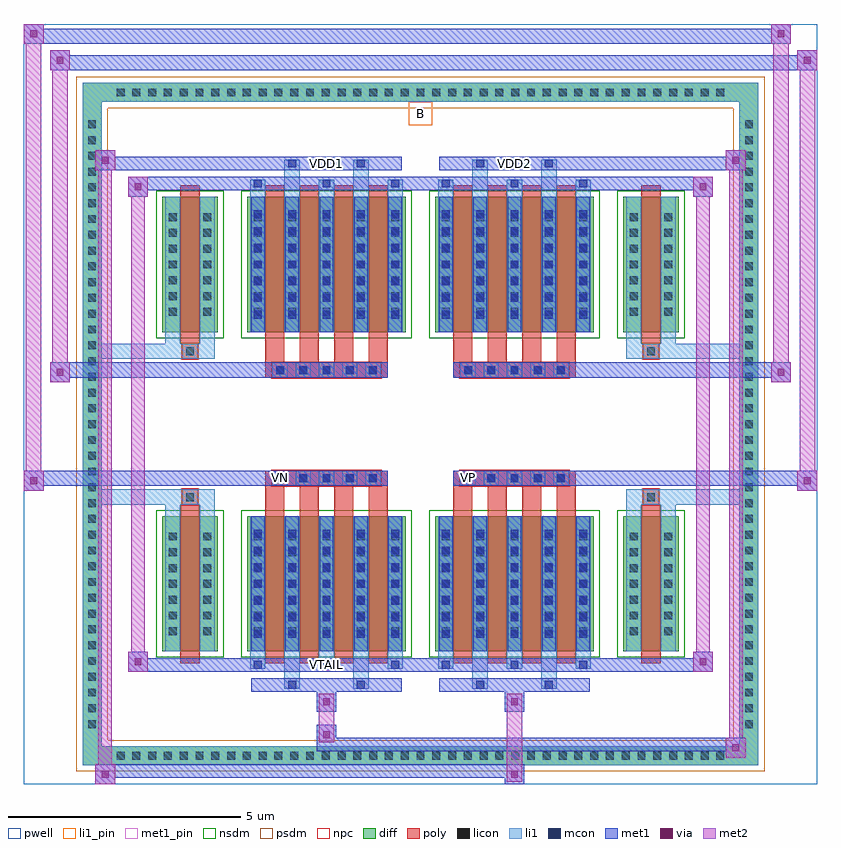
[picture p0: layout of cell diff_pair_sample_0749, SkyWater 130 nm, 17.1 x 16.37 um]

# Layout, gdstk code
import gdstk
lib = gdstk.Library(unit=1e-6, precision=5e-09)
def R(c, l, rs):  # rectangles x0, y0, x1, y1
    for r in rs: c.add(gdstk.rectangle(r[:2], r[2:], *l))
def A(c, l, x, y, w, h, nx, ny, dx, dy):  # array of equal rectangles
    R(c, l, [(x+i*dx, y+j*dy, x+i*dx+w, y+j*dy+h) for i in range(nx) for j in range(ny)])
def P(c, l, *ps):  # polygons
    for p in ps: c.add(gdstk.Polygon(p, *l))
pwell = (64, 44)
diff = (65, 20)
poly = (66, 20)
licon = (66, 44)
li1_pin = (67, 16)
li1 = (67, 20)
mcon = (67, 44)
met1_pin = (68, 16)
met1 = (68, 20)
via = (68, 44)
met2 = (69, 20)
nsdm = (93, 44)
psdm = (94, 20)
npc = (95, 20)

diff_pair_sample_0749 = lib.new_cell('diff_pair_sample_0749')
R(diff_pair_sample_0749, pwell, [(-8.55,-7.75,8.55,8.62), (-5.87,-5.94,-0.01,-0.8), (0.01,-5.94,5.87,-0.8), (-5.87,0.8,-0.01,5.94), (0.01,0.8,5.87,5.94)])
A(diff_pair_sample_0749, diff, -6.665, -7.35, 0.41, 0.41, 39, 2, 0.34, 14.29)
A(diff_pair_sample_0749, diff, -7.28, -6.665, 0.41, 0.41, 1, 39, 0, 0.34)
A(diff_pair_sample_0749, diff, 6.87, -6.665, 0.41, 0.41, 1, 39, 0, 0.34)
R(diff_pair_sample_0749, diff, [(-6.665,-7.35,6.665,-6.94), (-7.28,-6.665,-6.87,6.665), (6.87,-6.665,7.28,6.665), (-5.56,-4.895,-4.37,-1.985), (-3.73,-4.895,-0.32,-1.985), (0.32,-4.895,3.73,-1.985), (4.37,-4.895,5.56,-1.985), (-5.56,1.985,-4.37,4.895), (-3.73,1.985,-0.32,4.895), (0.32,1.985,3.73,4.895), (4.37,1.985,5.56,4.895), (-6.665,6.94,6.665,7.35)])
P(diff_pair_sample_0749, diff, [(7.28,7.35),(-7.28,7.35),(-7.28,-6.94),(-6.87,-6.94),(-6.87,6.94),(6.87,6.94),(6.87,-6.94),(-6.87,-6.94),(-7.28,-6.94),(-7.28,-7.35),(7.28,-7.35)])
A(diff_pair_sample_0749, poly, -3.34, -5.145, 0.41, 3.41, 4, 2, 0.74, 6.88)
A(diff_pair_sample_0749, poly, 0.71, -5.145, 0.41, 3.41, 4, 2, 0.74, 6.88)
A(diff_pair_sample_0749, poly, -3.34, -1.735, 0.41, 0.405, 4, 2, 0.74, 3.065)
A(diff_pair_sample_0749, poly, 0.71, -1.735, 0.41, 0.405, 4, 2, 0.74, 3.065)
A(diff_pair_sample_0749, poly, -3.19, -1.33, 0.33, 0.33, 5, 2, 0.5, 2.33)
A(diff_pair_sample_0749, poly, 0.86, -1.33, 0.33, 0.33, 5, 2, 0.5, 2.33)
R(diff_pair_sample_0749, poly, [(-5.17,-5.145,-4.76,-1.735), (4.76,-5.145,5.17,-1.735), (-5.13,-1.735,-4.8,-1.405), (-5.13,-1.735,-4.8,-1.405), (4.8,-1.735,5.13,-1.405), (4.8,-1.735,5.13,-1.405), (-3.34,-1.33,-0.71,-1), (0.71,-1.33,3.34,-1), (-3.34,1,-0.71,1.33), (0.71,1,3.34,1.33), (-5.13,1.405,-4.8,1.735), (-5.13,1.405,-4.8,1.735), (4.8,1.405,5.13,1.735), (4.8,1.405,5.13,1.735), (-5.17,1.735,-4.76,5.145), (4.76,1.735,5.17,5.145)])
A(diff_pair_sample_0749, licon, -6.545, -7.23, 0.17, 0.17, 39, 2, 0.34, 14.29)
A(diff_pair_sample_0749, licon, -7.16, -6.545, 0.17, 0.17, 1, 39, 0, 0.34)
A(diff_pair_sample_0749, licon, 6.99, -6.545, 0.17, 0.17, 1, 39, 0, 0.34)
A(diff_pair_sample_0749, licon, -5.42, -4.545, 0.17, 0.17, 1, 7, 0, 0.34)
A(diff_pair_sample_0749, licon, -4.68, -4.545, 0.17, 0.17, 1, 7, 0, 0.34)
A(diff_pair_sample_0749, licon, -3.59, -4.545, 0.17, 0.17, 5, 7, 0.74, 0.34)
A(diff_pair_sample_0749, licon, 0.46, -4.545, 0.17, 0.17, 5, 7, 0.74, 0.34)
A(diff_pair_sample_0749, licon, 4.51, -4.545, 0.17, 0.17, 1, 7, 0, 0.34)
A(diff_pair_sample_0749, licon, 5.25, -4.545, 0.17, 0.17, 1, 7, 0, 0.34)
A(diff_pair_sample_0749, licon, -3.11, -1.25, 0.17, 0.17, 5, 2, 0.5, 2.33)
A(diff_pair_sample_0749, licon, 0.94, -1.25, 0.17, 0.17, 5, 2, 0.5, 2.33)
A(diff_pair_sample_0749, licon, -5.42, 2.335, 0.17, 0.17, 1, 7, 0, 0.34)
A(diff_pair_sample_0749, licon, -4.68, 2.335, 0.17, 0.17, 1, 7, 0, 0.34)
A(diff_pair_sample_0749, licon, -3.59, 2.335, 0.17, 0.17, 5, 7, 0.74, 0.34)
A(diff_pair_sample_0749, licon, 0.46, 2.335, 0.17, 0.17, 5, 7, 0.74, 0.34)
A(diff_pair_sample_0749, licon, 4.51, 2.335, 0.17, 0.17, 1, 7, 0, 0.34)
A(diff_pair_sample_0749, licon, 5.25, 2.335, 0.17, 0.17, 1, 7, 0, 0.34)
R(diff_pair_sample_0749, licon, [(-5.05,-1.655,-4.88,-1.485), (4.88,-1.655,5.05,-1.485), (-5.05,1.485,-4.88,1.655), (4.88,1.485,5.05,1.655)])
R(diff_pair_sample_0749, li1_pin, [(-0.25,6.44,0.25,6.94)])
A(diff_pair_sample_0749, li1, -6.625, -7.31, 0.33, 0.33, 39, 2, 0.34, 14.29)
A(diff_pair_sample_0749, li1, -7.24, -6.625, 0.33, 0.33, 1, 39, 0, 0.34)
A(diff_pair_sample_0749, li1, 6.91, -6.625, 0.33, 0.33, 1, 39, 0, 0.34)
A(diff_pair_sample_0749, li1, -3.67, -5.27, 0.33, 0.375, 3, 2, 1.48, 10.165)
A(diff_pair_sample_0749, li1, -3.59, -5.27, 0.17, 0.17, 3, 2, 1.48, 10.37)
A(diff_pair_sample_0749, li1, 0.38, -5.27, 0.33, 0.375, 3, 2, 1.48, 10.165)
A(diff_pair_sample_0749, li1, 0.46, -5.27, 0.17, 0.17, 3, 2, 1.48, 10.37)
A(diff_pair_sample_0749, li1, -3.67, -4.895, 0.33, 2.91, 5, 2, 0.74, 6.88)
A(diff_pair_sample_0749, li1, 0.38, -4.895, 0.33, 2.91, 5, 2, 0.74, 6.88)
A(diff_pair_sample_0749, li1, -5.5, -4.625, 0.33, 0.33, 1, 7, 0, 0.34)
A(diff_pair_sample_0749, li1, -4.76, -4.625, 0.33, 0.33, 1, 7, 0, 0.34)
A(diff_pair_sample_0749, li1, -3.67, -4.625, 0.33, 0.33, 5, 7, 0.74, 0.34)
A(diff_pair_sample_0749, li1, 0.38, -4.625, 0.33, 0.33, 5, 7, 0.74, 0.34)
A(diff_pair_sample_0749, li1, 4.43, -4.625, 0.33, 0.33, 1, 7, 0, 0.34)
A(diff_pair_sample_0749, li1, 5.17, -4.625, 0.33, 0.33, 1, 7, 0, 0.34)
A(diff_pair_sample_0749, li1, -3.59, -4.605, 0.17, 0.17, 5, 7, 0.74, 0.36)
A(diff_pair_sample_0749, li1, -3.59, -4.605, 0.17, 2.33, 5, 2, 0.74, 6.88)
A(diff_pair_sample_0749, li1, 0.46, -4.605, 0.17, 0.17, 5, 7, 0.74, 0.36)
A(diff_pair_sample_0749, li1, 0.46, -4.605, 0.17, 2.33, 5, 2, 0.74, 6.88)
A(diff_pair_sample_0749, li1, -3.19, -1.33, 0.33, 0.33, 5, 2, 0.5, 2.33)
A(diff_pair_sample_0749, li1, 0.86, -1.33, 0.33, 0.33, 5, 2, 0.5, 2.33)
A(diff_pair_sample_0749, li1, -5.5, 2.255, 0.33, 0.33, 1, 7, 0, 0.34)
A(diff_pair_sample_0749, li1, -4.76, 2.255, 0.33, 0.33, 1, 7, 0, 0.34)
A(diff_pair_sample_0749, li1, -3.67, 2.255, 0.33, 0.33, 5, 7, 0.74, 0.34)
A(diff_pair_sample_0749, li1, 0.38, 2.255, 0.33, 0.33, 5, 7, 0.74, 0.34)
A(diff_pair_sample_0749, li1, 4.43, 2.255, 0.33, 0.33, 1, 7, 0, 0.34)
A(diff_pair_sample_0749, li1, 5.17, 2.255, 0.33, 0.33, 1, 7, 0, 0.34)
A(diff_pair_sample_0749, li1, -3.59, 2.275, 0.17, 0.17, 5, 7, 0.74, 0.36)
A(diff_pair_sample_0749, li1, 0.46, 2.275, 0.17, 0.17, 5, 7, 0.74, 0.36)
R(diff_pair_sample_0749, li1, [(-7.28,-7.35,-6.87,-6.94), (-7.28,-7.35,-6.87,-6.94), (-6.87,-7.35,6.87,-6.94), (6.87,-7.35,7.28,-6.94), (6.87,-7.35,7.28,-6.94), (-7.28,-6.94,-6.87,6.94), (6.87,-6.94,7.28,6.94), (-2.93,-5.7,-2.6,-4.895), (-2.85,-5.7,-2.68,-5.53), (-1.45,-5.7,-1.12,-4.895), (-1.37,-5.7,-1.2,-5.53), (1.12,-5.7,1.45,-4.895), (1.2,-5.7,1.37,-5.53), (2.6,-5.7,2.93,-4.895), (2.68,-5.7,2.85,-5.53), (-5.5,-4.895,-5.17,-1.985), (-4.76,-4.895,-4.43,-1.985), (4.43,-4.895,4.76,-1.985), (5.17,-4.895,5.5,-1.985), (-5.5,-1.985,-5.17,-1.405), (-4.76,-1.985,-4.43,-1.405), (4.43,-1.985,4.76,-1.405), (5.17,-1.985,5.5,-1.405), (-7.28,-1.735,-5.13,-1.405), (-5.5,-1.735,-5.13,-1.405), (-5.13,-1.735,-4.8,-1.405), (-4.8,-1.735,-4.43,-1.405), (4.43,-1.735,4.8,-1.405), (4.8,-1.735,5.13,-1.405), (4.8,-1.735,7.28,-1.405), (5.13,-1.735,5.5,-1.405), (-7.28,1.405,-5.13,1.735), (-5.5,1.405,-5.13,1.735), (-5.5,1.405,-5.17,1.985), (-5.13,1.405,-4.8,1.735), (-4.8,1.405,-4.43,1.735), (-4.76,1.405,-4.43,1.985), (4.43,1.405,4.8,1.735), (4.43,1.405,4.76,1.985), (4.8,1.405,5.13,1.735), (4.8,1.405,7.28,1.735), (5.13,1.405,5.5,1.735), (5.17,1.405,5.5,1.985), (-5.5,1.985,-5.17,4.895), (-4.76,1.985,-4.43,4.895), (4.43,1.985,4.76,4.895), (5.17,1.985,5.5,4.895), (-2.93,4.895,-2.6,5.7), (-1.45,4.895,-1.12,5.7), (1.12,4.895,1.45,5.7), (2.6,4.895,2.93,5.7), (-2.85,5.53,-2.68,5.7), (-1.37,5.53,-1.2,5.7), (1.2,5.53,1.37,5.7), (2.68,5.53,2.85,5.7), (-7.28,6.94,-6.87,7.35), (-7.28,6.94,-6.87,7.35), (-6.87,6.94,6.87,7.35), (6.87,6.94,7.28,7.35), (6.87,6.94,7.28,7.35)])
A(diff_pair_sample_0749, mcon, -3.59, -5.27, 0.17, 0.17, 3, 2, 1.48, 10.37)
A(diff_pair_sample_0749, mcon, 0.46, -5.27, 0.17, 0.17, 3, 2, 1.48, 10.37)
A(diff_pair_sample_0749, mcon, -3.59, -4.605, 0.17, 0.17, 5, 7, 0.74, 0.36)
A(diff_pair_sample_0749, mcon, 0.46, -4.605, 0.17, 0.17, 5, 7, 0.74, 0.36)
A(diff_pair_sample_0749, mcon, -3.11, -1.25, 0.17, 0.17, 5, 2, 0.5, 2.33)
A(diff_pair_sample_0749, mcon, 0.94, -1.25, 0.17, 0.17, 5, 2, 0.5, 2.33)
A(diff_pair_sample_0749, mcon, -3.59, 2.275, 0.17, 0.17, 5, 7, 0.74, 0.36)
A(diff_pair_sample_0749, mcon, 0.46, 2.275, 0.17, 0.17, 5, 7, 0.74, 0.36)
R(diff_pair_sample_0749, mcon, [(-2.85,-5.7,-2.68,-5.53), (-1.37,-5.7,-1.2,-5.53), (1.2,-5.7,1.37,-5.53), (2.68,-5.7,2.85,-5.53), (-2.85,5.53,-2.68,5.7), (-1.37,5.53,-1.2,5.7), (1.2,5.53,1.37,5.7), (2.68,5.53,2.85,5.7)])
R(diff_pair_sample_0749, met1_pin, [(-2.16,-5.31,-1.89,-5.04), (-3.16,-1.29,-2.89,-1.02), (0.89,-1.29,1.16,-1.02), (-2.16,5.49,-1.89,5.76), (1.89,5.49,2.16,5.76)])
A(diff_pair_sample_0749, met1, -3.65, -5.33, 0.29, 0.29, 3, 2, 1.48, 10.37)
A(diff_pair_sample_0749, met1, 0.4, -5.33, 0.29, 0.29, 3, 2, 1.48, 10.37)
A(diff_pair_sample_0749, met1, -3.65, -4.895, 0.29, 2.91, 5, 2, 0.74, 6.88)
A(diff_pair_sample_0749, met1, 0.4, -4.895, 0.29, 2.91, 5, 2, 0.74, 6.88)
A(diff_pair_sample_0749, met1, -3.65, -4.665, 0.29, 0.29, 5, 7, 0.74, 0.36)
A(diff_pair_sample_0749, met1, 0.4, -4.665, 0.29, 0.29, 5, 7, 0.74, 0.36)
A(diff_pair_sample_0749, met1, -3.17, -1.31, 0.29, 0.29, 5, 2, 0.5, 2.33)
A(diff_pair_sample_0749, met1, 0.88, -1.31, 0.29, 0.29, 5, 2, 0.5, 2.33)
A(diff_pair_sample_0749, met1, -3.65, 2.215, 0.29, 0.29, 5, 7, 0.74, 0.36)
A(diff_pair_sample_0749, met1, 0.4, 2.215, 0.29, 0.29, 5, 7, 0.74, 0.36)
R(diff_pair_sample_0749, met1, [(-7.01,-7.75,-6.58,-7.32), (1.81,-7.75,2.24,-7.32), (-7.01,-7.61,2.24,-7.32), (6.58,-7.18,7.01,-6.75), (-2.24,-7.04,7.01,-6.75), (-2.24,-6.9,-1.81,-6.47), (-2.24,-6.19,-1.81,-5.76), (1.81,-6.19,2.24,-5.76), (-3.65,-5.76,-0.4,-5.47), (-2.91,-5.76,-2.62,-5.47), (-1.43,-5.76,-1.14,-5.47), (0.4,-5.76,3.65,-5.47), (1.14,-5.76,1.43,-5.47), (2.62,-5.76,2.91,-5.47), (-6.3,-5.33,-5.87,-4.9), (-6.3,-5.33,-3.65,-5.04), (-3.65,-5.33,-0.4,-5.04), (-0.4,-5.33,0.4,-5.04), (0.4,-5.33,3.65,-5.04), (3.65,-5.33,6.3,-5.04), (5.87,-5.33,6.3,-4.9), (-8.55,-1.43,-8.12,-1), (8.12,-1.43,8.55,-1), (-8.55,-1.33,-0.71,-1), (-3.34,-1.33,-0.71,-1), (0.71,-1.33,3.34,-1), (0.71,-1.33,8.55,-1), (-7.98,0.9,-7.55,1.33), (7.55,0.9,7.98,1.33), (-7.98,1,-3.34,1.33), (-3.34,1,-0.71,1.33), (0.71,1,3.34,1.33), (3.34,1,7.98,1.33), (-6.3,4.9,-5.87,5.33), (5.87,4.9,6.3,5.33), (-6.3,5.04,-3.65,5.33), (-3.65,5.04,-0.4,5.33), (-0.4,5.04,0.4,5.33), (0.4,5.04,3.65,5.33), (3.65,5.04,6.3,5.33), (-7.01,5.47,-6.58,5.9), (-7.01,5.47,-3.65,5.76), (-3.65,5.47,-0.4,5.76), (-2.91,5.47,-2.62,5.76), (-1.43,5.47,-1.14,5.76), (0.4,5.47,3.65,5.76), (1.14,5.47,1.43,5.76), (2.62,5.47,2.91,5.76), (3.65,5.47,7.01,5.76), (6.58,5.47,7.01,5.9), (-7.98,7.62,-7.55,8.05), (-7.98,7.62,-5.87,7.95), (-5.87,7.62,5.87,7.95), (5.87,7.62,8.55,7.95), (8.12,7.62,8.55,8.05), (-8.55,8.19,-8.12,8.62), (-8.55,8.19,-5.87,8.52), (-5.87,8.19,5.87,8.52), (5.87,8.19,7.98,8.52), (7.55,8.19,7.98,8.62)])
R(diff_pair_sample_0749, via, [(-6.87,-7.61,-6.72,-7.46), (1.95,-7.61,2.1,-7.46), (6.72,-7.04,6.87,-6.89), (-2.1,-6.76,-1.95,-6.61), (-2.1,-6.05,-1.95,-5.9), (1.95,-6.05,2.1,-5.9), (-6.16,-5.19,-6.01,-5.04), (6.01,-5.19,6.16,-5.04), (-8.41,-1.29,-8.26,-1.14), (8.26,-1.29,8.41,-1.14), (-7.84,1.04,-7.69,1.19), (7.69,1.04,7.84,1.19), (-6.16,5.04,-6.01,5.19), (6.01,5.04,6.16,5.19), (-6.87,5.61,-6.72,5.76), (6.72,5.61,6.87,5.76), (-7.84,7.76,-7.69,7.91), (8.26,7.76,8.41,7.91), (-8.41,8.33,-8.26,8.48), (7.69,8.33,7.84,8.48)])
R(diff_pair_sample_0749, met2, [(-7.01,-7.75,-6.58,-7.32), (-6.94,-7.75,-6.65,5.9), (-6.65,-7.75,-6.58,-7.32), (-6.96,-7.7,-6.63,-7.37), (1.86,-7.7,2.19,-7.37), (1.86,-7.37,2.19,-6.14), (6.58,-7.18,7.01,-6.75), (6.65,-7.18,6.94,5.9), (6.94,-7.18,7.01,-6.75), (6.63,-7.13,6.96,-6.8), (-2.19,-6.85,-1.86,-6.52), (-2.19,-6.52,-1.86,-6.14), (-2.19,-6.14,-1.86,-5.81), (1.86,-6.14,2.19,-5.81), (-6.3,-5.33,-5.87,-4.9), (-6.23,-5.33,-5.94,5.33), (-5.94,-5.33,-5.87,-4.9), (5.87,-5.33,6.3,-4.9), (5.94,-5.33,6.23,5.33), (6.23,-5.33,6.3,-4.9), (-6.25,-5.28,-5.92,-4.95), (5.92,-5.28,6.25,-4.95), (-8.55,-1.43,-8.12,-1), (-8.5,-1.43,-8.17,8.62), (-8.17,-1.43,-8.12,-1), (8.12,-1.43,8.55,-1), (8.17,-1.43,8.5,8.05), (8.5,-1.43,8.55,-1), (-8.5,-1.38,-8.17,-1.05), (8.17,-1.38,8.5,-1.05), (-7.98,0.9,-7.55,1.33), (-7.93,0.9,-7.6,8.05), (-7.6,0.9,-7.55,1.33), (7.55,0.9,7.98,1.33), (7.6,0.9,7.93,8.62), (7.93,0.9,7.98,1.33), (-7.93,0.95,-7.6,1.28), (7.6,0.95,7.93,1.28), (-6.3,4.9,-5.87,5.33), (-5.94,4.9,-5.87,5.33), (5.87,4.9,6.3,5.33), (6.23,4.9,6.3,5.33), (-6.25,4.95,-5.92,5.28), (5.92,4.95,6.25,5.28), (-7.01,5.47,-6.58,5.9), (-6.65,5.47,-6.58,5.9), (6.58,5.47,7.01,5.9), (6.94,5.47,7.01,5.9), (-6.96,5.52,-6.63,5.85), (6.63,5.52,6.96,5.85), (-7.98,7.62,-7.55,8.05), (-7.6,7.62,-7.55,8.05), (8.12,7.62,8.55,8.05), (8.5,7.62,8.55,8.05), (-7.93,7.67,-7.6,8), (8.17,7.67,8.5,8), (-8.55,8.19,-8.12,8.62), (-8.17,8.19,-8.12,8.62), (7.55,8.19,7.98,8.62), (7.93,8.19,7.98,8.62), (-8.5,8.24,-8.17,8.57), (7.6,8.24,7.93,8.57)])
R(diff_pair_sample_0749, nsdm, [(-5.69,-5.025,-4.24,-1.855), (-3.86,-5.025,-0.19,-1.855), (0.19,-5.025,3.86,-1.855), (4.24,-5.025,5.69,-1.855), (-5.69,1.855,-4.24,5.025), (-3.86,1.855,-0.19,5.025), (0.19,1.855,3.86,5.025), (4.24,1.855,5.69,5.025)])
P(diff_pair_sample_0749, psdm, [(7.41,7.48),(-7.41,7.48),(-7.41,-6.81),(-6.74,-6.81),(-6.74,6.81),(6.74,6.81),(6.74,-6.81),(-6.74,-6.81),(-7.41,-6.81),(-7.41,-7.48),(7.41,-7.48)])
A(diff_pair_sample_0749, npc, -3.21, -1.35, 0.37, 0.37, 5, 2, 0.5, 2.33)
A(diff_pair_sample_0749, npc, 0.84, -1.35, 0.37, 0.37, 5, 2, 0.5, 2.33)
R(diff_pair_sample_0749, npc, [(-5.15,-1.755,-4.78,-1.385), (4.78,-1.755,5.15,-1.385), (-3.21,-1.35,-2.34,-0.98), (-3.21,-1.35,-2.34,-0.98), (-2.71,-1.35,-1.84,-0.98), (-2.71,-1.35,-1.84,-0.98), (-2.21,-1.35,-1.34,-0.98), (-2.21,-1.35,-1.34,-0.98), (-1.71,-1.35,-0.84,-0.98), (-1.71,-1.35,-0.84,-0.98), (0.84,-1.35,1.71,-0.98), (0.84,-1.35,1.71,-0.98), (1.34,-1.35,2.21,-0.98), (1.34,-1.35,2.21,-0.98), (1.84,-1.35,2.71,-0.98), (1.84,-1.35,2.71,-0.98), (2.34,-1.35,3.21,-0.98), (2.34,-1.35,3.21,-0.98), (-3.21,0.98,-2.34,1.35), (-3.21,0.98,-2.34,1.35), (-2.71,0.98,-1.84,1.35), (-2.71,0.98,-1.84,1.35), (-2.21,0.98,-1.34,1.35), (-2.21,0.98,-1.34,1.35), (-1.71,0.98,-0.84,1.35), (-1.71,0.98,-0.84,1.35), (0.84,0.98,1.71,1.35), (0.84,0.98,1.71,1.35), (1.34,0.98,2.21,1.35), (1.34,0.98,2.21,1.35), (1.84,0.98,2.71,1.35), (1.84,0.98,2.71,1.35), (2.34,0.98,3.21,1.35), (2.34,0.98,3.21,1.35), (-5.15,1.385,-4.78,1.755), (4.78,1.385,5.15,1.755)])
diff_pair_sample_0749.add(gdstk.Label('VTAIL', (-2.025,-5.175), layer=68, texttype=5))
diff_pair_sample_0749.add(gdstk.Label('VN', (-3.025,-1.155), layer=68, texttype=5))
diff_pair_sample_0749.add(gdstk.Label('VP', (1.025,-1.155), layer=68, texttype=5))
diff_pair_sample_0749.add(gdstk.Label('B', (0,6.69), layer=67, texttype=5))
diff_pair_sample_0749.add(gdstk.Label('VDD2', (2.025,5.625), layer=68, texttype=5))
diff_pair_sample_0749.add(gdstk.Label('VDD1', (-2.025,5.625), layer=68, texttype=5))

lib.write_gds('diff_pair_sample_0749.gds')
